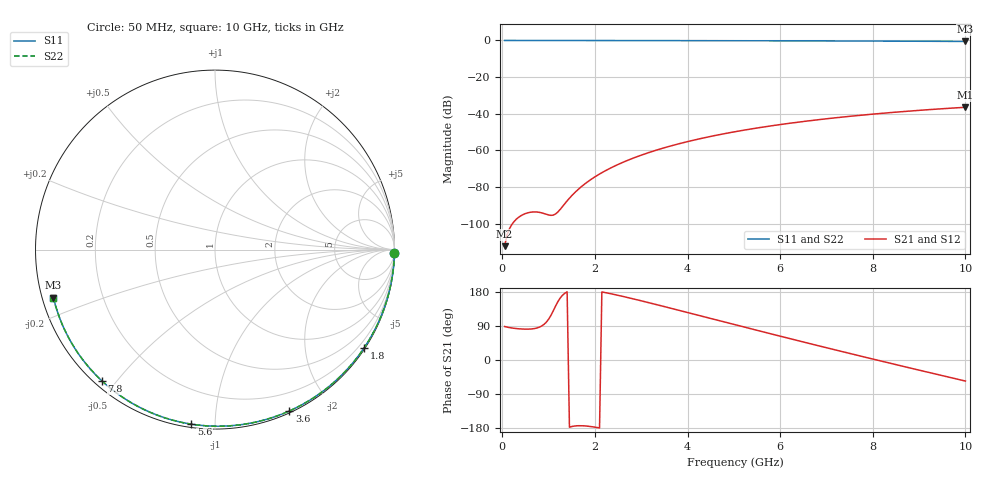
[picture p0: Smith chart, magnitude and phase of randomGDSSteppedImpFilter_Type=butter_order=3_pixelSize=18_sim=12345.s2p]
! freq	dB(S11)	phase(S11)	dB(S12)	phase(S12)
!  dB(S21)	phase(S21)	dB(S22)	phase(S22)
!S-par simulation data
#  GHz  S  DB  R 50
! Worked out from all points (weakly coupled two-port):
!   200 points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, 50 MHz to 10 GHz, reference 50 ohm
!   highest |S21| = -36.44 dB at 10 GHz (marker M1); lowest = -112.2 dB at 50 MHz (marker M2)
!   lowest |S11| = -0.5 dB at 10 GHz (marker M3), VSWR 31.88, Z = 1.6 - j7.25 ohm
!   |S11| at or under -10 dB: nowhere
!   |S22| runs from -0.5 to 0.0 dB; largest |S21 - S12| = 0
!   S11 on the Smith chart (normalised r, x): 50 MHz: open; 1.8 GHz: 0.03, -3.32; 3.6 GHz: 0.02, -1.56; 5.6 GHz: 0.02, -0.87; 7.8 GHz: 0.02, -0.46; 10 GHz: 0.03, -0.15
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0.05  -0.00 -1.0  -112.16 88.3  -112.16 88.3  -0.00 -1.0
0.45  -0.01 -8.5  -94.92 81.6  -94.92 81.6  -0.01 -8.5
0.85  -0.02 -16.0  -93.99 89.7  -93.99 89.7  -0.02 -16.0
1.65  -0.04 -30.8  -80.97 -173.4  -80.97 -173.4  -0.04 -30.8
1.7  -0.04 -31.7  -79.88 -173.4  -79.88 -173.4  -0.04 -31.7
1.75  -0.04 -32.7  -78.85 -173.7  -78.85 -173.7  -0.04 -32.7
1.8  -0.04 -33.6  -77.87 -174.1  -77.87 -174.1  -0.04 -33.6
2.1  -0.05 -39.0  -72.82 -179.2  -72.82 -179.2  -0.05 -39.0
2.3  -0.05 -42.6  -70.05 176.0  -70.05 176.0  -0.05 -42.6
2.5  -0.06 -46.2  -67.61 170.7  -67.61 170.7  -0.06 -46.2
2.9  -0.07 -53.2  -63.46 159.2  -63.46 159.2  -0.07 -53.2
3.4  -0.08 -61.9  -59.24 144.0  -59.24 144.0  -0.08 -61.9
3.6  -0.09 -65.3  -57.78 137.8  -57.78 137.8  -0.09 -65.3
4.3  -0.11 -76.9  -53.40 115.9  -53.40 115.9  -0.11 -77.0
5.05  -0.14 -89.1  -49.64 92.4  -49.64 92.4  -0.14 -89.1
5.6  -0.16 -97.7  -47.34 75.2  -47.34 75.2  -0.16 -97.7
6.15  -0.19 -106.2  -45.34 58.2  -45.34 58.2  -0.19 -106.2
6.7  -0.22 -114.5  -43.57 41.4  -43.57 41.4  -0.22 -114.5
7.8  -0.31 -130.8  -40.63 8.4  -40.63 8.4  -0.31 -130.8
8.35  -0.36 -138.9  -39.39 -7.8  -39.39 -7.8  -0.36 -138.9
9.2  -0.45 -151.4  -37.74 -32.6  -37.74 -32.6  -0.45 -151.4
10  -0.55 -163.5  -36.44 -55.5  -36.44 -55.5  -0.55 -163.5
